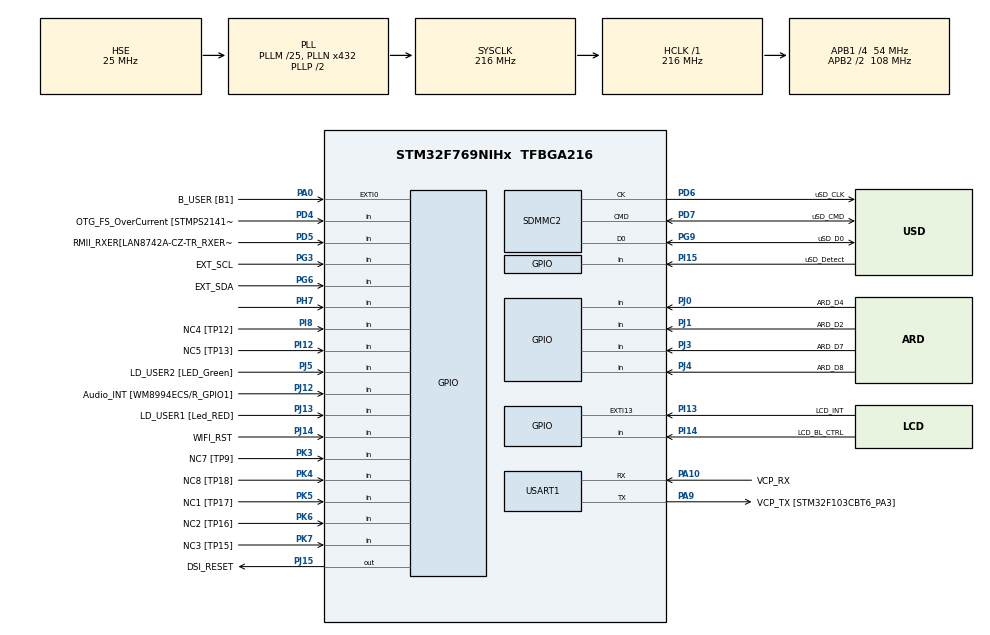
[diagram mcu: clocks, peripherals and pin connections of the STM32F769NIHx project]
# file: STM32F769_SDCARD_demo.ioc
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CORTEX_M7.ART_ACCLERATOR_ENABLE=1
CORTEX_M7.CPU_DCache=Enabled
CORTEX_M7.CPU_ICache=Enabled
CORTEX_M7.PREFETCH_ENABLE=1
DSIHOST_CKN.GPIO_Label=DSI_CK_N
DSIHOST_CKN.Signal=DSIHOST_CKN
DSIHOST_CKP.GPIO_Label=DSI_CK_P
DSIHOST_CKP.Signal=DSIHOST_CKP
DSIHOST_D0N.GPIO_Label=DSI_D0_N
DSIHOST_D0N.Signal=DSIHOST_D0N
DSIHOST_D0P.GPIO_Label=DSI_D0_p
DSIHOST_D0P.Signal=DSIHOST_D0P
DSIHOST_D1N.GPIO_Label=DSI_D1_N
DSIHOST_D1N.Signal=DSIHOST_D1N
DSIHOST_D1P.GPIO_Label=DSI_D1_P
DSIHOST_D1P.Signal=DSIHOST_D1P
FATFS.BSP.number=1
FATFS._USE_LFN=2
FATFS0.BSP.STBoard=false
FATFS0.BSP.api=Unknown
FATFS0.BSP.i2caddr=0
FATFS0.BSP.instance=PI15
FATFS0.BSP.ip=GPIO
FATFS0.BSP.mode=Input
FATFS0.BSP.name=Detect_SDIO
FATFS0.BSP.solution=PI15
Mcu.Family=STM32F7
Mcu.Name=STM32F769NIHx
Mcu.Package=TFBGA216
NVIC.PriorityGroup=NVIC_PRIORITYGROUP_4
NVIC.RCC_IRQn=true\:0\:0\:false\:false\:true\:true\:false
NVIC.TIM6_DAC_IRQn=true\:0\:0\:false\:false\:true\:false\:true
NVIC.TimeBase=TIM6_DAC_IRQn
NVIC.TimeBaseIP=TIM6
PA0/WKUP.GPIO_Label=B_USER [B1]
PA0/WKUP.Signal=GPXTI0
PA1.GPIO_Label=RMII_REF_CLK [LAN8742A-CZ-TR_REFCLK0]
PA1.Signal=ETH_REF_CLK
PA10.GPIO_Label=VCP_RX 
PA10.Mode=Asynchronous
PA10.Signal=USART1_RX
PA11.GPIO_Label=SPI2_NSS
PA11.Signal=SPI2_NSS
PA12.GPIO_Label=ARD_D13/SCK
PA12.GPIO_Mode=GPIO_MODE_AF_PP
PA12.GPIO_PuPd=GPIO_NOPULL
PA12.GPIO_Speed=GPIO_SPEED_FREQ_LOW
PA12.Signal=SPI2_SCK
PA13.GPIO_Label=SWDIO
PA13.Mode=Serial_Wire
PA13.Signal=SYS_JTMS-SWDIO
PA14.GPIO_Label=SWCLK
PA14.Mode=Serial_Wire
PA14.Signal=SYS_JTCK-SWCLK
PA15.GPIO_Label=CEC
PA15.Signal=CEC
PA2.GPIO_Label=RMII_MDIO [LAN8742A-CZ-TR_MDIO]
PA2.Signal=ETH_MDIO
PA3.GPIO_Label=ULPI_D0 [USB3320C-EZK_D0]
PA3.Signal=USB_OTG_HS_ULPI_D0
PA4.GPIO_Label=ARD_A1
PA4.Signal=ADCx_IN4
PA5.GPIO_Label=ULPI_CLK [USB3320C-EZK_CLKOUT]
PA5.Signal=USB_OTG_HS_ULPI_CK
PA6.GPIO_Label=ARD_A0
PA6.Signal=ADCx_IN6
PA7.GPIO_Label=RMII_CRS_DV [LAN8742A-CZ-TR_CRS_DV]
PA7.Signal=ETH_CRS_DV
PA8.GPIO_Label=CEC_CLK [TP2]
PA8.Signal=RCC_MCO_1
PA9.GPIO_Label=VCP_TX [STM32F103CBT6_PA3]
PA9.GPIO_Mode=GPIO_MODE_AF_PP
PA9.GPIO_PuPd=GPIO_NOPULL
PA9.GPIO_Speed=GPIO_SPEED_FREQ_LOW
PA9.Mode=Asynchronous
PA9.Signal=USART1_TX
PB0.GPIO_Label=ULPI_D1 [USB3320C-EZK_D1]
PB0.Signal=USB_OTG_HS_ULPI_D1
PB1.GPIO_Label=ULPI_D2 [USB3320C-EZK_D2]
PB1.Signal=USB_OTG_HS_ULPI_D2
PB10.GPIO_Label=ULPI_D3 [USB3320C-EZK_D3]
PB10.Signal=USB_OTG_HS_ULPI_D3
PB11.GPIO_Label=ULPI_D4 [USB3320C-EZK_D4]
PB11.Signal=USB_OTG_HS_ULPI_D4
PB12.GPIO_Label=ULPI_D5 [USB3320C-EZK_D5]
PB12.Signal=USB_OTG_HS_ULPI_D5
PB13.GPIO_Label=ULPI_D6 [USB3320C-EZK_D6]
PB13.Signal=USB_OTG_HS_ULPI_D6
PB14.GPIO_Label=ARDUINO MISO/D12
PB14.GPIO_Mode=GPIO_MODE_AF_PP
PB14.GPIO_PuPd=GPIO_NOPULL
PB14.GPIO_Speed=GPIO_SPEED_FREQ_LOW
PB14.Signal=SPI2_MISO
PB15.GPIO_Label=ARDUINO MOSI/PWM/D11
PB15.GPIO_Mode=GPIO_MODE_AF_PP
PB15.GPIO_PuPd=GPIO_NOPULL
PB15.GPIO_Speed=GPIO_SPEED_FREQ_LOW
PB15.Signal=SPI2_MOSI
PB2.Signal=QUADSPI_CLK
PB3.GPIO_Label=uSD_D2
PB3.Signal=SDMMC2_D2
PB4.GPIO_Label=uSD_D3
PB4.Signal=SDMMC2_D3
PB5.GPIO_Label=ULPI_D7 [USB3320C-EZK_D7]
PB5.Signal=USB_OTG_HS_ULPI_D7
PB6.GPIO_Label=QSPI_NCS [N25Q128A13EF840E_S]
PB6.Signal=QUADSPI_BK1_NCS
PB7.GPIO_Label=AUDIO_SDA [WM8994ECS/R_SDA]
PB7.Signal=I2C4_SDA
PB8.GPIO_Label=ARDUINO SCL/D15
PB8.GPIO_Mode=GPIO_MODE_AF_OD
PB8.GPIO_PuPd=GPIO_NOPULL
PB8.GPIO_Speed=GPIO_SPEED_FREQ_LOW
PB8.Signal=I2C1_SCL
PB9.GPIO_Label=ARDUINO SDA/D14
PB9.GPIO_Mode=GPIO_MODE_AF_OD
PB9.GPIO_PuPd=GPIO_NOPULL
PB9.GPIO_Speed=GPIO_SPEED_FREQ_LOW
PB9.Signal=I2C1_SDA
PC0.GPIO_Label=ULPI_STP [USB3320C-EZK_STP]
PC0.Signal=USB_OTG_HS_ULPI_STP
PC1.GPIO_Label=RMII_MDC [LAN8742A-CZ-TR_MDC]
PC1.Signal=ETH_MDC
PC10.GPIO_Label=QSPI_D1 [MT25QL512ABB1EW9_DQ1]
PC10.Signal=QUADSPI_BK1_IO1
PC11.GPIO_Label=DFSDM_DATIN5 [TP5]
PC11.Signal=S_DATAIN5DFSDM1
PC12.GPIO_Label=WIFI_RX
PC12.Signal=UART5_TX
PC13.Signal=RTC_OUT_ALARM
PC14/OSC32_IN.GPIO_Label=RCC_OSC32_IN
PC14/OSC32_IN.Mode=LSE-External-Oscillator
PC14/OSC32_IN.Signal=RCC_OSC32_IN
PC15/OSC32_OUT.GPIO_Label=RCC_OSC32_OUT
PC15/OSC32_OUT.Mode=LSE-External-Oscillator
PC15/OSC32_OUT.Signal=RCC_OSC32_OUT
PC2.GPIO_Label=ARD_A2
PC2.Signal=ADCx_IN12
PC4.GPIO_Label=RMII_RXD0 [LAN8742A-CZ-TR_RXD0]
PC4.Signal=ETH_RXD0
PC5.GPIO_Label=RMII_RXD1 [LAN8742A-CZ-TR_RXD1]
PC5.Signal=ETH_RXD1
PC6.GPIO_Label=ARDUINO TX/D1
PC6.Signal=USART6_TX
PC7.GPIO_Label=ARD_D0/RX
PC7.Signal=USART6_RX
PC8.GPIO_Label=ARD_D5/PWM
PC8.Signal=S_TIM3_CH3
PC9.GPIO_Label=QSPI_D0 [N25Q128A13EF840E_DQ0]
PC9.Signal=QUADSPI_BK1_IO0
PD0.GPIO_Label=FMC_D2 [MT48LC4M32B2B5-6A_DQ2]
PD0.Signal=FMC_D2_DA2
PD1.GPIO_Label=FMC_D3 [MT48LC4M32B2B5-6A_DQ3]
PD1.Signal=FMC_D3_DA3
PD10.GPIO_Label=FMC_D15 [MT48LC4M32B2B5-6A_DQ15]
PD10.Signal=FMC_D15_DA15
PD11.GPIO_Label=SPDIF_TX [TP20]
PD11.Signal=SAI2_SD_A
PD12.GPIO_Label=AUDIO_SCL [WM8994ECS/R_SCLK]
PD12.Signal=I2C4_SCL
PD13.GPIO_Label=QSPI_D3 [N25Q128A13EF840E_DQ3]
PD13.Signal=QUADSPI_BK1_IO3
PD14.GPIO_Label=FMC_D0 [MT48LC4M32B2B5-6A_DQ0]
PD14.Signal=FMC_D0_DA0
PD15.GPIO_Label=FMC_D1 [MT48LC4M32B2B5-6A_DQ1]
PD15.Signal=FMC_D1_DA1
PD2.GPIO_Label=WIFI_TX
PD2.Signal=UART5_RX
PD3.GPIO_Label=DFSDM_CKOUT [TP102]
PD3.Signal=S_CKOUTDFSDM1
PD4.GPIO_Label=OTG_FS_OverCurrent [STMPS2141STR_Fault]
PD4.Signal=GPIO_Input
PD5.GPIO_Label=RMII_RXER[LAN8742A-CZ-TR_RXERR]
PD5.Signal=GPIO_Input
PD6.GPIO_Label=uSD_CLK
PD6.Mode=SD_1_bit
PD6.Signal=SDMMC2_CK
PD7.GPIO_Label=uSD_CMD
PD7.Mode=SD_1_bit
PD7.Signal=SDMMC2_CMD
PD8.GPIO_Label=FMC_D13 [MT48LC4M32B2B5-6A_DQ13]
PD8.Signal=FMC_D13_DA13
PD9.GPIO_Label=FMC_D14 [MT48LC4M32B2B5-6A_DQ14]
PD9.Signal=FMC_D14_DA14
PE0.GPIO_Label=FMC_NBL0 [MT48LC4M32B2B5-6A_DQM0]
PE0.Signal=FMC_NBL0
PE1.GPIO_Label=FMC_NBL1 [MT48LC4M32B2B5-6A_DQM1]
PE1.Signal=FMC_NBL1
PE10.GPIO_Label=FMC_D7 [MT48LC4M32B2B5-6A_DQ7]
PE10.Signal=FMC_D7_DA7
PE11.GPIO_Label=FMC_D8 [MT48LC4M32B2B5-6A_DQ8]
PE11.Signal=FMC_D8_DA8
PE12.GPIO_Label=FMC_D9 [MT48LC4M32B2B5-6A_DQ9]
PE12.Signal=FMC_D9_DA9
PE13.GPIO_Label=FMC_D10 [MT48LC4M32B2B5-6A_DQ10]
PE13.Signal=FMC_D10_DA10
PE14.GPIO_Label=FMC_D11 [MT48LC4M32B2B5-6A_DQ11]
PE14.Signal=FMC_D11_DA11
PE15.GPIO_Label=FMC_D12 [MT48LC4M32B2B5-6A_DQ12]
PE15.Signal=FMC_D12_DA12
PE2.GPIO_Label=QSPI_D2 [N25Q128A13EF840E_DQ2]
PE2.Signal=QUADSPI_BK1_IO2
PE3.GPIO_Label=SAI1_SDB [WM8994ECS/R_ADCDAT1]
PE3.Signal=SAI1_SD_B
PE4.GPIO_Label=SAI1_FSA [WM8994ECS/R_LRCLK1]
PE4.Signal=SAI1_FS_A
PE5.GPIO_Label=SAI1_SCKA [WM8994ECS/R_BCLK1]
PE5.Signal=SAI1_SCK_A
PE6.GPIO_Label=SAI1_SDA [WM8994ECS/R_DACDAT1]
PE6.Signal=SAI1_SD_A
PE7.GPIO_Label=FMC_D4 [MT48LC4M32B2B5-6A_DQ4]
PE7.Signal=FMC_D4_DA4
PE8.GPIO_Label=FMC_D5 [MT48LC4M32B2B5-6A_DQ5]
PE8.Signal=FMC_D5_DA5
PE9.GPIO_Label=FMC_D6 [MT48LC4M32B2B5-6A_DQ6]
PE9.Signal=FMC_D6_DA6
PF0.GPIO_Label=FMC_A0 [MT48LC4M32B2B5-6A_A0]
PF0.Signal=FMC_A0
PF1.GPIO_Label=FMC_A1 [MT48LC4M32B2B5-6A_A1]
PF1.Signal=FMC_A1
PF10.GPIO_Label=ARDUINO A1
PF10.GPIO_Mode=GPIO_MODE_ANALOG
PF10.GPIO_PuPd=GPIO_NOPULL
PF10.Signal=ADC3_IN8
PF11.GPIO_Label=FMC_SDNRAS [MT48LC4M32B2B5-6A_RAS]
PF11.Signal=FMC_SDNRAS
PF12.GPIO_Label=FMC_A6 [MT48LC4M32B2B5-6A_A6]
PF12.Signal=FMC_A6
PF13.GPIO_Label=FMC_A7 [MT48LC4M32B2B5-6A_A7]
PF13.Signal=FMC_A7
PF14.GPIO_Label=FMC_A8 [MT48LC4M32B2B5-6A_A8]
PF14.Signal=FMC_A8
PF15.GPIO_Label=FMC_A9 [MT48LC4M32B2B5-6A_A9]
PF15.Signal=FMC_A9
PF2.GPIO_Label=FMC_A2 [MT48LC4M32B2B5-6A_A2]
PF2.Signal=FMC_A2
PF3.GPIO_Label=FMC_A3 [MT48LC4M32B2B5-6A_A3]
PF3.Signal=FMC_A3
PF4.GPIO_Label=FMC_A4 [MT48LC4M32B2B5-6A_A4]
PF4.Signal=FMC_A4
PF5.GPIO_Label=FMC_A5 [MT48LC4M32B2B5-6A_A5]
PF5.Signal=FMC_A5
PF6.GPIO_Label=ARD_D3/PWM
PF6.Signal=S_TIM10_CH1
PF7.GPIO_Label=ARD_D6/PWM
PF7.Signal=S_TIM11_CH1
PF8.GPIO_Label=ARDUINO A3
PF8.GPIO_Mode=GPIO_MODE_ANALOG
PF8.GPIO_PuPd=GPIO_NOPULL
PF8.Signal=ADC3_IN6
PF9.GPIO_Label=ARDUINO A2
PF9.GPIO_Mode=GPIO_MODE_ANALOG
PF9.GPIO_PuPd=GPIO_NOPULL
PF9.Signal=ADC3_IN7
PG0.GPIO_Label=FMC_A10 [MT48LC4M32B2B5-6A_A10]
PG0.Signal=FMC_A10
PG1.GPIO_Label=FMC_A11 [MT48LC4M32B2B5-6A_A11]
PG1.Signal=FMC_A11
PG10.GPIO_Label=uSD_D1
PG10.Signal=SDMMC2_D1
PG11.GPIO_Label=RMII_TX_EN [LAN8742A-CZ-TR_TXEN]
PG11.Signal=ETH_TX_EN
PG12.GPIO_Label=SPDIF_RX [74LVC1G04SE_4]
PG12.Signal=SPDIFRX_IN1
PG13.GPIO_Label=RMII_TXD0 [LAN8742A-CZ-TR_TXD0]
PG13.Signal=ETH_TXD0
PG14.GPIO_Label=RMII_TXD1 [LAN8742A-CZ-TR_TXD1]
PG14.Signal=ETH_TXD1
PG15.GPIO_Label=FMC_SDNCAS [MT48LC4M32B2B5-6A_CAS]
PG15.Signal=FMC_SDNCAS
PG2.GPIO_Label=FMC_A12
PG2.Signal=FMC_A12
PG3.GPIO_Label=EXT_SCL
PG3.Signal=GPIO_Input
PG4.GPIO_Label=FMC_BA0 [MT48LC4M32B2B5-6A_BA0]
PG4.Signal=FMC_A14_BA0
PG5.GPIO_Label=FMC_BA1 [MT48LC4M32B2B5-6A_BA1]
PG5.Signal=FMC_A15_BA1
PG6.GPIO_Label=EXT_SDA
PG6.Signal=GPIO_Input
PG7.GPIO_Label=SAI1_MCLKA [WM8994ECS/R_MCLK1]
PG7.Signal=SAI1_MCLK_A
PG8.GPIO_Label=FMC_SDCLK [MT48LC4M32B2B5-6A_CLK]
PG8.Signal=FMC_SDCLK
PG9.GPIO_Label=uSD_D0
PG9.Mode=SD_1_bit
PG9.Signal=SDMMC2_D0
PH0/OSC_IN.GPIO_Label=OSC_25M [NZ2520SB-25.00M_OUT]
PH0/OSC_IN.Mode=HSE-External-Oscillator
PH0/OSC_IN.Signal=RCC_OSC_IN
PH1/OSC_OUT.Mode=HSE-External-Oscillator
PH1/OSC_OUT.Signal=RCC_OSC_OUT
PH10.GPIO_Label=FMC_D18 [MT48LC4M32B2B5-6A_DQ18]
PH10.Signal=FMC_D18
PH11.GPIO_Label=FMC_D19 [MT48LC4M32B2B5-6A_DQ19]
PH11.Signal=FMC_D19
PH12.GPIO_Label=D20
PH12.Signal=FMC_D20
PH13.GPIO_Label=D21
PH13.Signal=FMC_D21
PH14.GPIO_Label=D22
PH14.Signal=FMC_D22
PH15.GPIO_Label=D23
PH15.Signal=FMC_D23
PH2.GPIO_Label=FMC_SDCKE0 [MT48LC4M32B2B5-6A_CKE]
PH2.Signal=FMC_SDCKE0
PH3.GPIO_Label=FMC_SDNE0 [MT48LC4M32B2B5-6A_CS]
PH3.Signal=FMC_SDNE0
PH4.GPIO_Label=ULPI_NXT [USB3320C-EZK_NXT]
PH4.Signal=USB_OTG_HS_ULPI_NXT
PH5.GPIO_Label=FMC_SDNME [MT48LC4M32B2B5-6A_WE]
PH5.Signal=FMC_SDNWE
PH6.GPIO_Label=ARDUINO PWM/D6
PH6.Signal=S_TIM12_CH1
PH7.Signal=GPIO_Input
PH8.GPIO_Label=FMC_D16 [MT48LC4M32B2B5-6A_DQ16]
PH8.Signal=FMC_D16
PH9.GPIO_Label=FMC_D\!7 [MT48LC4M32B2B5-6A_DQ17]
PH9.Signal=FMC_D17
PI0.GPIO_Label=D24
PI0.Signal=FMC_D24
PI1.GPIO_Label=D25
PI1.Signal=FMC_D25
PI10.GPIO_Label=D31
PI10.Signal=FMC_D31
PI11.GPIO_Label=ULPI_DIR [USB3320C-EZK_DIR]
PI11.Signal=USB_OTG_HS_ULPI_DIR
PI12.GPIO_Label=NC5 [TP13]
PI12.Signal=GPIO_Input
PI13.GPIO_Label=LCD_INT
PI13.GPIO_ModeDefaultEXTI=GPIO_MODE_EVT_RISING
PI13.Signal=GPXTI13
PI14.GPIO_Label=LCD_BL_CTRL
PI14.Signal=GPIO_Input
PI15.GPIO_Label=uSD_Detect
PI15.GPIO_PuPd=GPIO_PULLUP
PI15.Signal=GPIO_Input
PI2.GPIO_Label=D26
PI2.Signal=FMC_D26
PI3.GPIO_Label=D27
PI3.Signal=FMC_D27
PI4.GPIO_Label=FMC_NBL2 [MT48LC4M32B2B5-6A_DQM2]
PI4.Signal=FMC_NBL2
PI5.GPIO_Label=FMC_NBL3 [MT48LC4M32B2B5-6A_DQM3]
PI5.Signal=FMC_NBL3
PI6.GPIO_Label=D28
PI6.Signal=FMC_D28
PI7.GPIO_Label=D29
PI7.Signal=FMC_D29
PI8.GPIO_Label=NC4 [TP12]
PI8.Signal=GPIO_Input
PI9.GPIO_Label=D30
PI9.Signal=FMC_D30
PJ0.GPIO_Label=ARD_D4
PJ0.Signal=GPIO_Input
PJ1.GPIO_Label=ARD_D2
PJ1.Signal=GPIO_Input
PJ12.GPIO_Label=Audio_INT [WM8994ECS/R_GPIO1]
PJ12.Signal=GPIO_Input
PJ13.GPIO_Label=LD_USER1 [Led_RED]
PJ13.Signal=GPIO_Input
PJ14.GPIO_Label=WIFI_RST
PJ14.Signal=GPIO_Input
PJ15.GPIO_Label=DSI_RESET
PJ15.Signal=GPIO_Output
PJ2.GPIO_Label=DSIHOST_TE
PJ2.Signal=DSIHOST_TE
PJ3.GPIO_Label=ARD_D7
PJ3.Signal=GPIO_Input
PJ4.GPIO_Label=ARD_D8
PJ4.Signal=GPIO_Input
PJ5.GPIO_Label=LD_USER2 [LED_Green]
PJ5.Signal=GPIO_Input
PK3.GPIO_Label=NC7 [TP9]
PK3.Signal=GPIO_Input
PK4.GPIO_Label=NC8 [TP18]
PK4.Signal=GPIO_Input
PK5.GPIO_Label=NC1 [TP17]
PK5.Signal=GPIO_Input
PK6.GPIO_Label=NC2 [TP16]
PK6.Signal=GPIO_Input
PK7.GPIO_Label=NC3 [TP15]
PK7.Signal=GPIO_Input
ProjectManager.HeapSize=0x200
ProjectManager.StackSize=0x400
ProjectManager.TargetToolchain=STM32CubeIDE
RCC.AHBFreq_Value=216000000
RCC.APB1CLKDivider=RCC_HCLK_DIV4
RCC.APB1Freq_Value=54000000
RCC.APB1TimFreq_Value=108000000
RCC.APB2CLKDivider=RCC_HCLK_DIV2
RCC.APB2Freq_Value=108000000
RCC.APB2TimFreq_Value=216000000
RCC.CortexFreq_Value=216000000
RCC.HCLKFreq_Value=216000000
RCC.HSE_VALUE=25000000
RCC.HSI_VALUE=16000000
RCC.PLL48CLockSelection=RCC_CLK48SOURCE_PLLSAIP
RCC.PLLM=25
RCC.PLLN=432
RCC.PLLQ=4
RCC.PLLSAIP=RCC_PLLSAIP_DIV4
RCC.PLLSAIQ=3
RCC.PLLSourceVirtual=RCC_PLLSOURCE_HSE
RCC.SDMMC2ClockSelection=RCC_SDMMC2CLKSOURCE_CLK48
RCC.SYSCLKFreq_VALUE=216000000
RCC.SYSCLKSource=RCC_SYSCLKSOURCE_PLLCLK
RCC.USBFreq_Value=48000000
RCC.VCOOutputFreq_Value=432000000
SH.ADCx_IN12.0=ADC1_IN12
SH.ADCx_IN4.0=ADC1_IN4
SH.ADCx_IN6.0=ADC1_IN6
SH.FMC_A0.0=FMC_A0
SH.FMC_A1.0=FMC_A1
SH.FMC_A10.0=FMC_A10
SH.FMC_A11.0=FMC_A11
SH.FMC_A12.0=FMC_A12
SH.FMC_A14_BA0.0=FMC_BA0
SH.FMC_A15_BA1.0=FMC_BA1
SH.FMC_A2.0=FMC_A2
SH.FMC_A3.0=FMC_A3
SH.FMC_A4.0=FMC_A4
SH.FMC_A5.0=FMC_A5
SH.FMC_A6.0=FMC_A6
SH.FMC_A7.0=FMC_A7
SH.FMC_A8.0=FMC_A8
SH.FMC_A9.0=FMC_A9
SH.FMC_D0_DA0.0=FMC_D0
SH.FMC_D10_DA10.0=FMC_D10
SH.FMC_D11_DA11.0=FMC_D11
SH.FMC_D12_DA12.0=FMC_D12
SH.FMC_D13_DA13.0=FMC_D13
SH.FMC_D14_DA14.0=FMC_D14
SH.FMC_D15_DA15.0=FMC_D15
SH.FMC_D16.0=FMC_D16
SH.FMC_D17.0=FMC_D17
SH.FMC_D18.0=FMC_D18
SH.FMC_D19.0=FMC_D19
SH.FMC_D1_DA1.0=FMC_D1
SH.FMC_D20.0=FMC_D20
SH.FMC_D21.0=FMC_D21
SH.FMC_D22.0=FMC_D22
SH.FMC_D23.0=FMC_D23
SH.FMC_D24.0=FMC_D24
SH.FMC_D25.0=FMC_D25
SH.FMC_D26.0=FMC_D26
SH.FMC_D27.0=FMC_D27
SH.FMC_D28.0=FMC_D28
SH.FMC_D29.0=FMC_D29
SH.FMC_D2_DA2.0=FMC_D2
SH.FMC_D30.0=FMC_D30
SH.FMC_D31.0=FMC_D31
SH.FMC_D3_DA3.0=FMC_D3
SH.FMC_D4_DA4.0=FMC_D4
SH.FMC_D5_DA5.0=FMC_D5
SH.FMC_D6_DA6.0=FMC_D6
SH.FMC_D7_DA7.0=FMC_D7
SH.FMC_D8_DA8.0=FMC_D8
SH.FMC_D9_DA9.0=FMC_D9
SH.FMC_NBL0.0=FMC_NBL0
SH.FMC_NBL1.0=FMC_NBL1
SH.FMC_NBL2.0=FMC_NBL2
SH.FMC_NBL3.0=FMC_NBL3
SH.FMC_SDCLK.0=FMC_SDCLK
SH.FMC_SDNCAS.0=FMC_SDNCAS
SH.FMC_SDNRAS.0=FMC_SDNRAS
SH.FMC_SDNWE.0=FMC_SDNWE
SH.S_CKOUTDFSDM1.0=DFSDM1_CKOUT
SH.S_DATAIN5DFSDM1.0=DFSDM1_DATIN5
SH.S_TIM10_CH1.0=TIM10_CH1
SH.S_TIM11_CH1.0=TIM11_CH1
SH.S_TIM12_CH1.0=TIM12_CH1
SH.S_TIM3_CH3.0=TIM3_CH3
USART1.VirtualMode-Asynchronous=VM_ASYNC
VP_FATFS_VS_SDIO.Mode=SDIO
VP_SYS_VS_tim6.Mode=TIM6
board=STM32F769I-DISCO

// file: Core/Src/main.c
/* USER CODE BEGIN Header */
/**
  ******************************************************************************
  * @file           : main.c
  * @brief          : Main program body
  ******************************************************************************
  * @attention
  *
  * <h2><center>&copy; Copyright (c) 2020 STMicroelectronics.
  * All rights reserved.</center></h2>
  *
  * This software component is licensed by ST under Ultimate Liberty license
  * SLA0044, the "License"; You may not use this file except in compliance with
  * the License. You may obtain a copy of the License at:
  *                             www.st.com/SLA0044
  *
  ******************************************************************************
  */
/* USER CODE END Header */

#include "main.h"
#include "fatfs.h"

/* USER CODE BEGIN Includes */
#include "ff.h"
#include "../../Middlewares/Third_Party/FatFs/src/ff.h"
#include <stdio.h>
#include <string.h>
/* USER CODE END Includes */

SD_HandleTypeDef hsd2;

UART_HandleTypeDef huart1;

void SystemClock_Config(void);
static void MX_GPIO_Init(void);
static void MX_USART1_UART_Init(void);
static void MX_SDMMC2_SD_Init(void);
/* USER CODE BEGIN PFP */
FRESULT scan_files (char* path);
/* USER CODE END PFP */

int main(void)
{

  /* Enable I-Cache---------------------------------------------------------*/
  SCB_EnableICache();

  /* Enable D-Cache---------------------------------------------------------*/
  SCB_EnableDCache();

  /* MCU Configuration--------------------------------------------------------*/

  /* Reset of all peripherals, Initializes the Flash interface and the Systick. */
  HAL_Init();

  /* Configure the system clock */
  SystemClock_Config();

  /* Initialize all configured peripherals */
  MX_GPIO_Init();
  MX_USART1_UART_Init();
  MX_SDMMC2_SD_Init();
  MX_FATFS_Init();
  /* USER CODE BEGIN 2 */

  if(BSP_SD_IsDetected() == SD_PRESENT) {
	  HAL_UART_Transmit(&huart1, (uint8_t *)"SDCARD OK", 9, HAL_MAX_DELAY);
      HAL_UART_Transmit(&huart1, (uint8_t *) "\n\r", 2, HAL_MAX_DELAY);

  } else {
	  HAL_UART_Transmit(&huart1, (uint8_t *)"SDCARD NOK", 10, HAL_MAX_DELAY);
      HAL_UART_Transmit(&huart1, (uint8_t *) "\n\r", 2, HAL_MAX_DELAY);

  }

  FRESULT res;
  FATFS SDFatFs;
  char buff[256];

  res = BSP_SD_Init();
  if(res != FR_OK) {
	  Error_Handler();
  }

  res = f_mount(&SDFatFs, "", 1);
  if(res != FR_OK) {
	  Error_Handler();
  }

  strcpy(buff, "/");
  res = scan_files(buff);
  if(res != FR_OK) {
 	  Error_Handler();
   }

  /* USER CODE END 2 */

  /* Infinite loop */
  while (1)
  {

  }
}

void SystemClock_Config(void)
{
  RCC_OscInitTypeDef RCC_OscInitStruct = {0};
  RCC_ClkInitTypeDef RCC_ClkInitStruct = {0};
  RCC_PeriphCLKInitTypeDef PeriphClkInitStruct = {0};

  /** Configure LSE Drive Capability
  */
  HAL_PWR_EnableBkUpAccess();
  /** Configure the main internal regulator output voltage
  */
  __HAL_RCC_PWR_CLK_ENABLE();
  __HAL_PWR_VOLTAGESCALING_CONFIG(PWR_REGULATOR_VOLTAGE_SCALE1);
  /** Initializes the CPU, AHB and APB busses clocks
  */
  RCC_OscInitStruct.OscillatorType = RCC_OSCILLATORTYPE_HSE;
  RCC_OscInitStruct.HSEState = RCC_HSE_ON;
  RCC_OscInitStruct.PLL.PLLState = RCC_PLL_ON;
  RCC_OscInitStruct.PLL.PLLSource = RCC_PLLSOURCE_HSE;
  RCC_OscInitStruct.PLL.PLLM = 25;
  RCC_OscInitStruct.PLL.PLLN = 432;
  RCC_OscInitStruct.PLL.PLLP = RCC_PLLP_DIV2;
  RCC_OscInitStruct.PLL.PLLQ = 4;
  if (HAL_RCC_OscConfig(&RCC_OscInitStruct) != HAL_OK)
  {
    Error_Handler();
  }
  /** Activate the Over-Drive mode
  */
  if (HAL_PWREx_EnableOverDrive() != HAL_OK)
  {
    Error_Handler();
  }
  /** Initializes the CPU, AHB and APB busses clocks
  */
  RCC_ClkInitStruct.ClockType = RCC_CLOCKTYPE_HCLK|RCC_CLOCKTYPE_SYSCLK
                              |RCC_CLOCKTYPE_PCLK1|RCC_CLOCKTYPE_PCLK2;
  RCC_ClkInitStruct.SYSCLKSource = RCC_SYSCLKSOURCE_PLLCLK;
  RCC_ClkInitStruct.AHBCLKDivider = RCC_SYSCLK_DIV1;
  RCC_ClkInitStruct.APB1CLKDivider = RCC_HCLK_DIV4;
  RCC_ClkInitStruct.APB2CLKDivider = RCC_HCLK_DIV2;

  if (HAL_RCC_ClockConfig(&RCC_ClkInitStruct, FLASH_LATENCY_7) != HAL_OK)
  {
    Error_Handler();
  }
  PeriphClkInitStruct.PeriphClockSelection = RCC_PERIPHCLK_USART1|RCC_PERIPHCLK_SDMMC2
                              |RCC_PERIPHCLK_CLK48;
  PeriphClkInitStruct.PLLSAI.PLLSAIN = 192;
  PeriphClkInitStruct.PLLSAI.PLLSAIR = 2;
  PeriphClkInitStruct.PLLSAI.PLLSAIQ = 3;
  PeriphClkInitStruct.PLLSAI.PLLSAIP = RCC_PLLSAIP_DIV4;
  PeriphClkInitStruct.PLLSAIDivQ = 1;
  PeriphClkInitStruct.PLLSAIDivR = RCC_PLLSAIDIVR_2;
  PeriphClkInitStruct.Usart1ClockSelection = RCC_USART1CLKSOURCE_PCLK2;
  PeriphClkInitStruct.Clk48ClockSelection = RCC_CLK48SOURCE_PLLSAIP;
  PeriphClkInitStruct.Sdmmc2ClockSelection = RCC_SDMMC2CLKSOURCE_CLK48;
  if (HAL_RCCEx_PeriphCLKConfig(&PeriphClkInitStruct) != HAL_OK)
  {
    Error_Handler();
  }
}

static void MX_SDMMC2_SD_Init(void)
{

  hsd2.Instance = SDMMC2;
  hsd2.Init.ClockEdge = SDMMC_CLOCK_EDGE_RISING;
  hsd2.Init.ClockBypass = SDMMC_CLOCK_BYPASS_DISABLE;
  hsd2.Init.ClockPowerSave = SDMMC_CLOCK_POWER_SAVE_DISABLE;
  hsd2.Init.BusWide = SDMMC_BUS_WIDE_1B;
  hsd2.Init.HardwareFlowControl = SDMMC_HARDWARE_FLOW_CONTROL_DISABLE;
  hsd2.Init.ClockDiv = 0;

}

static void MX_USART1_UART_Init(void)
{

  huart1.Instance = USART1;
  huart1.Init.BaudRate = 115200;
  huart1.Init.WordLength = UART_WORDLENGTH_8B;
  huart1.Init.StopBits = UART_STOPBITS_1;
  huart1.Init.Parity = UART_PARITY_NONE;
  huart1.Init.Mode = UART_MODE_TX_RX;
  huart1.Init.HwFlowCtl = UART_HWCONTROL_NONE;
  huart1.Init.OverSampling = UART_OVERSAMPLING_16;
  huart1.Init.OneBitSampling = UART_ONE_BIT_SAMPLE_DISABLE;
  huart1.AdvancedInit.AdvFeatureInit = UART_ADVFEATURE_NO_INIT;
  if (HAL_UART_Init(&huart1) != HAL_OK)
  {
    Error_Handler();
  }

}

static void MX_GPIO_Init(void)
{
  GPIO_InitTypeDef GPIO_InitStruct = {0};

  /* GPIO Ports Clock Enable */
  __HAL_RCC_GPIOE_CLK_ENABLE();
  __HAL_RCC_GPIOG_CLK_ENABLE();
  __HAL_RCC_GPIOB_CLK_ENABLE();
  __HAL_RCC_GPIOD_CLK_ENABLE();
  __HAL_RCC_GPIOC_CLK_ENABLE();
  __HAL_RCC_GPIOA_CLK_ENABLE();
  __HAL_RCC_GPIOJ_CLK_ENABLE();
  __HAL_RCC_GPIOI_CLK_ENABLE();
  __HAL_RCC_GPIOK_CLK_ENABLE();
  __HAL_RCC_GPIOF_CLK_ENABLE();
  __HAL_RCC_GPIOH_CLK_ENABLE();

  /*Configure GPIO pin Output Level */
  HAL_GPIO_WritePin(DSI_RESET_GPIO_Port, DSI_RESET_Pin, GPIO_PIN_RESET);

  /*Configure GPIO pins : SAI1_FSA_Pin SAI1_SDB_Pin SAI1_SCKA_Pin SAI1_SDA_Pin */
  GPIO_InitStruct.Pin = SAI1_FSA_Pin|SAI1_SDB_Pin|SAI1_SCKA_Pin|SAI1_SDA_Pin;
  GPIO_InitStruct.Mode = GPIO_MODE_AF_PP;
  GPIO_InitStruct.Pull = GPIO_NOPULL;
  GPIO_InitStruct.Speed = GPIO_SPEED_FREQ_LOW;
  GPIO_InitStruct.Alternate = GPIO_AF6_SAI1;
  HAL_GPIO_Init(GPIOE, &GPIO_InitStruct);

  /*Configure GPIO pin : QSPI_D2_Pin */
  GPIO_InitStruct.Pin = QSPI_D2_Pin;
  GPIO_InitStruct.Mode = GPIO_MODE_AF_PP;
  GPIO_InitStruct.Pull = GPIO_NOPULL;
  GPIO_InitStruct.Speed = GPIO_SPEED_FREQ_VERY_HIGH;
  GPIO_InitStruct.Alternate = GPIO_AF9_QUADSPI;
  HAL_GPIO_Init(QSPI_D2_GPIO_Port, &GPIO_InitStruct);

  /*Configure GPIO pins : RMII_TXD1_Pin RMII_TXD0_Pin RMII_TX_EN_Pin */
  GPIO_InitStruct.Pin = RMII_TXD1_Pin|RMII_TXD0_Pin|RMII_TX_EN_Pin;
  GPIO_InitStruct.Mode = GPIO_MODE_AF_PP;
  GPIO_InitStruct.Pull = GPIO_NOPULL;
  GPIO_InitStruct.Speed = GPIO_SPEED_FREQ_VERY_HIGH;
  GPIO_InitStruct.Alternate = GPIO_AF11_ETH;
  HAL_GPIO_Init(GPIOG, &GPIO_InitStruct);

  /*Configure GPIO pins : FMC_NBL1_Pin FMC_NBL0_Pin FMC_D5_Pin FMC_D6_Pin
                           FMC_D8_Pin FMC_D11_Pin FMC_D4_Pin FMC_D7_Pin
                           FMC_D9_Pin FMC_D12_Pin FMC_D10_Pin */
  GPIO_InitStruct.Pin = FMC_NBL1_Pin|FMC_NBL0_Pin|FMC_D5_Pin|FMC_D6_Pin
                          |FMC_D8_Pin|FMC_D11_Pin|FMC_D4_Pin|FMC_D7_Pin
                          |FMC_D9_Pin|FMC_D12_Pin|FMC_D10_Pin;
  GPIO_InitStruct.Mode = GPIO_MODE_AF_PP;
  GPIO_InitStruct.Pull = GPIO_NOPULL;
  GPIO_InitStruct.Speed = GPIO_SPEED_FREQ_VERY_HIGH;
  GPIO_InitStruct.Alternate = GPIO_AF12_FMC;
  HAL_GPIO_Init(GPIOE, &GPIO_InitStruct);

  /*Configure GPIO pins : ARDUINO_SCL_D15_Pin ARDUINO_SDA_D14_Pin */
  GPIO_InitStruct.Pin = ARDUINO_SCL_D15_Pin|ARDUINO_SDA_D14_Pin;
  GPIO_InitStruct.Mode = GPIO_MODE_AF_OD;
  GPIO_InitStruct.Pull = GPIO_PULLUP;
  GPIO_InitStruct.Speed = GPIO_SPEED_FREQ_LOW;
  GPIO_InitStruct.Alternate = GPIO_AF4_I2C1;
  HAL_GPIO_Init(GPIOB, &GPIO_InitStruct);

  /*Configure GPIO pins : ULPI_D7_Pin ULPI_D6_Pin ULPI_D5_Pin ULPI_D3_Pin
                           ULPI_D2_Pin ULPI_D1_Pin ULPI_D4_Pin */
  GPIO_InitStruct.Pin = ULPI_D7_Pin|ULPI_D6_Pin|ULPI_D5_Pin|ULPI_D3_Pin
                          |ULPI_D2_Pin|ULPI_D1_Pin|ULPI_D4_Pin;
  GPIO_InitStruct.Mode = GPIO_MODE_AF_PP;
  GPIO_InitStruct.Pull = GPIO_NOPULL;
  GPIO_InitStruct.Speed = GPIO_SPEED_FREQ_VERY_HIGH;
  GPIO_InitStruct.Alternate = GPIO_AF10_OTG_HS;
  HAL_GPIO_Init(GPIOB, &GPIO_InitStruct);

  /*Configure GPIO pin : WIFI_RX_Pin */
  GPIO_InitStruct.Pin = WIFI_RX_Pin;
  GPIO_InitStruct.Mode = GPIO_MODE_AF_PP;
  GPIO_InitStruct.Pull = GPIO_NOPULL;
  GPIO_InitStruct.Speed = GPIO_SPEED_FREQ_VERY_HIGH;
  GPIO_InitStruct.Alternate = GPIO_AF8_UART5;
  HAL_GPIO_Init(WIFI_RX_GPIO_Port, &GPIO_InitStruct);

  /*Configure GPIO pin : CEC_Pin */
  GPIO_InitStruct.Pin = CEC_Pin;
  GPIO_InitStruct.Mode = GPIO_MODE_AF_OD;
  GPIO_InitStruct.Pull = GPIO_NOPULL;
  GPIO_InitStruct.Speed = GPIO_SPEED_FREQ_LOW;
  GPIO_InitStruct.Alternate = GPIO_AF4_CEC;
  HAL_GPIO_Init(CEC_GPIO_Port, &GPIO_InitStruct);

  /*Configure GPIO pin : AUDIO_SDA_Pin */
  GPIO_InitStruct.Pin = AUDIO_SDA_Pin;
  GPIO_InitStruct.Mode = GPIO_MODE_AF_OD;
  GPIO_InitStruct.Pull = GPIO_PULLUP;
  GPIO_InitStruct.Speed = GPIO_SPEED_FREQ_VERY_HIGH;
  GPIO_InitStruct.Alternate = GPIO_AF11_I2C4;
  HAL_GPIO_Init(AUDIO_SDA_GPIO_Port, &GPIO_InitStruct);

  /*Configure GPIO pin : QSPI_NCS_Pin */
  GPIO_InitStruct.Pin = QSPI_NCS_Pin;
  GPIO_InitStruct.Mode = GPIO_MODE_AF_PP;
  GPIO_InitStruct.Pull = GPIO_NOPULL;
  GPIO_InitStruct.Speed = GPIO_SPEED_FREQ_VERY_HIGH;
  GPIO_InitStruct.Alternate = GPIO_AF10_QUADSPI;
  HAL_GPIO_Init(QSPI_NCS_GPIO_Port, &GPIO_InitStruct);

  /*Configure GPIO pins : FMC_SDNCAS_Pin FMC_SDCLK_Pin FMC_A11_Pin FMC_A12_Pin
                           FMC_A10_Pin FMC_BA1_Pin FMC_BA0_Pin */
  GPIO_InitStruct.Pin = FMC_SDNCAS_Pin|FMC_SDCLK_Pin|FMC_A11_Pin|FMC_A12_Pin
                          |FMC_A10_Pin|FMC_BA1_Pin|FMC_BA0_Pin;
  GPIO_InitStruct.Mode = GPIO_MODE_AF_PP;
  GPIO_InitStruct.Pull = GPIO_NOPULL;
  GPIO_InitStruct.Speed = GPIO_SPEED_FREQ_VERY_HIGH;
  GPIO_InitStruct.Alternate = GPIO_AF12_FMC;
  HAL_GPIO_Init(GPIOG, &GPIO_InitStruct);

  /*Configure GPIO pins : LD_USER1_Pin Audio_INT_Pin WIFI_RST_Pin ARD_D8_Pin
                           LD_USER2_Pin ARD_D7_Pin ARD_D4_Pin ARD_D2_Pin */
  GPIO_InitStruct.Pin = LD_USER1_Pin|Audio_INT_Pin|WIFI_RST_Pin|ARD_D8_Pin
                          |LD_USER2_Pin|ARD_D7_Pin|ARD_D4_Pin|ARD_D2_Pin;
  GPIO_InitStruct.Mode = GPIO_MODE_INPUT;
  GPIO_InitStruct.Pull = GPIO_NOPULL;
  HAL_GPIO_Init(GPIOJ, &GPIO_InitStruct);

  /*Configure GPIO pins : FMC_D2_Pin FMC_D3_Pin FMC_D1_Pin FMC_D15_Pin
                           FMC_D0_Pin FMC_D14_Pin FMC_D13_Pin */
  GPIO_InitStruct.Pin = FMC_D2_Pin|FMC_D3_Pin|FMC_D1_Pin|FMC_D15_Pin
                          |FMC_D0_Pin|FMC_D14_Pin|FMC_D13_Pin;
  GPIO_InitStruct.Mode = GPIO_MODE_AF_PP;
  GPIO_InitStruct.Pull = GPIO_NOPULL;
  GPIO_InitStruct.Speed = GPIO_SPEED_FREQ_VERY_HIGH;
  GPIO_InitStruct.Alternate = GPIO_AF12_FMC;
  HAL_GPIO_Init(GPIOD, &GPIO_InitStruct);

  /*Configure GPIO pin : DFSDM_DATIN5_Pin */
  GPIO_InitStruct.Pin = DFSDM_DATIN5_Pin;
  GPIO_InitStruct.Mode = GPIO_MODE_AF_PP;
  GPIO_InitStruct.Pull = GPIO_NOPULL;
  GPIO_InitStruct.Speed = GPIO_SPEED_FREQ_LOW;
  GPIO_InitStruct.Alternate = GPIO_AF3_DFSDM1;
  HAL_GPIO_Init(DFSDM_DATIN5_GPIO_Port, &GPIO_InitStruct);

  /*Configure GPIO pins : QSPI_D1_Pin QSPI_D0_Pin */
  GPIO_InitStruct.Pin = QSPI_D1_Pin|QSPI_D0_Pin;
  GPIO_InitStruct.Mode = GPIO_MODE_AF_PP;
  GPIO_InitStruct.Pull = GPIO_NOPULL;
  GPIO_InitStruct.Speed = GPIO_SPEED_FREQ_VERY_HIGH;
  GPIO_InitStruct.Alternate = GPIO_AF9_QUADSPI;
  HAL_GPIO_Init(GPIOC, &GPIO_InitStruct);

  /*Configure GPIO pin : ARD_D13_SCK_Pin */
  GPIO_InitStruct.Pin = ARD_D13_SCK_Pin;
  GPIO_InitStruct.Mode = GPIO_MODE_AF_PP;
  GPIO_InitStruct.Pull = GPIO_NOPULL;
  GPIO_InitStruct.Speed = GPIO_SPEED_FREQ_LOW;
  GPIO_InitStruct.Alternate = GPIO_AF5_SPI2;
  HAL_GPIO_Init(ARD_D13_SCK_GPIO_Port, &GPIO_InitStruct);

  /*Configure GPIO pins : NC4_Pin NC5_Pin LCD_BL_CTRL_Pin */
  GPIO_InitStruct.Pin = NC4_Pin|NC5_Pin|LCD_BL_CTRL_Pin;
  GPIO_InitStruct.Mode = GPIO_MODE_INPUT;
  GPIO_InitStruct.Pull = GPIO_NOPULL;
  HAL_GPIO_Init(GPIOI, &GPIO_InitStruct);

  /*Configure GPIO pins : FMC_NBL2_Pin D27_Pin D26_Pin FMC_NBL3_Pin
                           D29_Pin D31_Pin D28_Pin D25_Pin
                           D30_Pin D24_Pin */
  GPIO_InitStruct.Pin = FMC_NBL2_Pin|D27_Pin|D26_Pin|FMC_NBL3_Pin
                          |D29_Pin|D31_Pin|D28_Pin|D25_Pin
                          |D30_Pin|D24_Pin;
  GPIO_InitStruct.Mode = GPIO_MODE_AF_PP;
  GPIO_InitStruct.Pull = GPIO_NOPULL;
  GPIO_InitStruct.Speed = GPIO_SPEED_FREQ_VERY_HIGH;
  GPIO_InitStruct.Alternate = GPIO_AF12_FMC;
  HAL_GPIO_Init(GPIOI, &GPIO_InitStruct);

  /*Configure GPIO pins : NC3_Pin NC2_Pin NC1_Pin NC8_Pin
                           NC7_Pin */
  GPIO_InitStruct.Pin = NC3_Pin|NC2_Pin|NC1_Pin|NC8_Pin
                          |NC7_Pin;
  GPIO_InitStruct.Mode = GPIO_MODE_INPUT;
  GPIO_InitStruct.Pull = GPIO_NOPULL;
  HAL_GPIO_Init(GPIOK, &GPIO_InitStruct);

  /*Configure GPIO pin : SPDIF_RX_Pin */
  GPIO_InitStruct.Pin = SPDIF_RX_Pin;
  GPIO_InitStruct.Mode = GPIO_MODE_AF_PP;
  GPIO_InitStruct.Pull = GPIO_NOPULL;
  GPIO_InitStruct.Speed = GPIO_SPEED_FREQ_LOW;
  GPIO_InitStruct.Alternate = GPIO_AF7_SPDIFRX;
  HAL_GPIO_Init(SPDIF_RX_GPIO_Port, &GPIO_InitStruct);

  /*Configure GPIO pins : RMII_RXER_Pin OTG_FS_OverCurrent_Pin */
  GPIO_InitStruct.Pin = RMII_RXER_Pin|OTG_FS_OverCurrent_Pin;
  GPIO_InitStruct.Mode = GPIO_MODE_INPUT;
  GPIO_InitStruct.Pull = GPIO_NOPULL;
  HAL_GPIO_Init(GPIOD, &GPIO_InitStruct);

  /*Configure GPIO pin : DFSDM_CKOUT_Pin */
  GPIO_InitStruct.Pin = DFSDM_CKOUT_Pin;
  GPIO_InitStruct.Mode = GPIO_MODE_AF_PP;
  GPIO_InitStruct.Pull = GPIO_NOPULL;
  GPIO_InitStruct.Speed = GPIO_SPEED_FREQ_LOW;
  GPIO_InitStruct.Alternate = GPIO_AF3_DFSDM1;
  HAL_GPIO_Init(DFSDM_CKOUT_GPIO_Port, &GPIO_InitStruct);

  /*Configure GPIO pin : SPI2_NSS_Pin */
  GPIO_InitStruct.Pin = SPI2_NSS_Pin;
  GPIO_InitStruct.Mode = GPIO_MODE_AF_PP;
  GPIO_InitStruct.Pull = GPIO_NOPULL;
  GPIO_InitStruct.Speed = GPIO_SPEED_FREQ_VERY_HIGH;
  GPIO_InitStruct.Alternate = GPIO_AF5_SPI2;
  HAL_GPIO_Init(SPI2_NSS_GPIO_Port, &GPIO_InitStruct);

  /*Configure GPIO pins : FMC_A0_Pin FMC_A1_Pin FMC_A2_Pin FMC_A3_Pin
                           FMC_A4_Pin FMC_A5_Pin FMC_A6_Pin FMC_A9_Pin
                           FMC_A7_Pin FMC_A8_Pin FMC_SDNRAS_Pin */
  GPIO_InitStruct.Pin = FMC_A0_Pin|FMC_A1_Pin|FMC_A2_Pin|FMC_A3_Pin
                          |FMC_A4_Pin|FMC_A5_Pin|FMC_A6_Pin|FMC_A9_Pin
                          |FMC_A7_Pin|FMC_A8_Pin|FMC_SDNRAS_Pin;
  GPIO_InitStruct.Mode = GPIO_MODE_AF_PP;
  GPIO_InitStruct.Pull = GPIO_NOPULL;
  GPIO_InitStruct.Speed = GPIO_SPEED_FREQ_VERY_HIGH;
  GPIO_InitStruct.Alternate = GPIO_AF12_FMC;
  HAL_GPIO_Init(GPIOF, &GPIO_InitStruct);

  /*Configure GPIO pin : DSI_RESET_Pin */
  GPIO_InitStruct.Pin = DSI_RESET_Pin;
  GPIO_InitStruct.Mode = GPIO_MODE_OUTPUT_PP;
  GPIO_InitStruct.Pull = GPIO_NOPULL;
  GPIO_InitStruct.Speed = GPIO_SPEED_FREQ_LOW;
  HAL_GPIO_Init(DSI_RESET_GPIO_Port, &GPIO_InitStruct);

  /*Configure GPIO pin : WIFI_TX_Pin */
  GPIO_InitStruct.Pin = WIFI_TX_Pin;
  GPIO_InitStruct.Mode = GPIO_MODE_AF_PP;
  GPIO_InitStruct.Pull = GPIO_NOPULL;
  GPIO_InitStruct.Speed = GPIO_SPEED_FREQ_VERY_HIGH;
  GPIO_InitStruct.Alternate = GPIO_AF8_UART5;
  HAL_GPIO_Init(WIFI_TX_GPIO_Port, &GPIO_InitStruct);

  /*Configure GPIO pins : D23_Pin D21_Pin D22_Pin FMC_SDNME_Pin
                           FMC_SDNE0_Pin FMC_SDCKE0_Pin D20_Pin FMC_D_7_Pin
                           FMC_D19_Pin FMC_D16_Pin FMC_D18_Pin */
  GPIO_InitStruct.Pin = D23_Pin|D21_Pin|D22_Pin|FMC_SDNME_Pin
                          |FMC_SDNE0_Pin|FMC_SDCKE0_Pin|D20_Pin|FMC_D_7_Pin
                          |FMC_D19_Pin|FMC_D16_Pin|FMC_D18_Pin;
  GPIO_InitStruct.Mode = GPIO_MODE_AF_PP;
  GPIO_InitStruct.Pull = GPIO_NOPULL;
  GPIO_InitStruct.Speed = GPIO_SPEED_FREQ_VERY_HIGH;
  GPIO_InitStruct.Alternate = GPIO_AF12_FMC;
  HAL_GPIO_Init(GPIOH, &GPIO_InitStruct);

  /*Configure GPIO pin : ULPI_DIR_Pin */
  GPIO_InitStruct.Pin = ULPI_DIR_Pin;
  GPIO_InitStruct.Mode = GPIO_MODE_AF_PP;
  GPIO_InitStruct.Pull = GPIO_NOPULL;
  GPIO_InitStruct.Speed = GPIO_SPEED_FREQ_VERY_HIGH;
  GPIO_InitStruct.Alternate = GPIO_AF10_OTG_HS;
  HAL_GPIO_Init(ULPI_DIR_GPIO_Port, &GPIO_InitStruct);

  /*Configure GPIO pin : CEC_CLK_Pin */
  GPIO_InitStruct.Pin = CEC_CLK_Pin;
  GPIO_InitStruct.Mode = GPIO_MODE_AF_PP;
  GPIO_InitStruct.Pull = GPIO_NOPULL;
  GPIO_InitStruct.Speed = GPIO_SPEED_FREQ_LOW;
  GPIO_InitStruct.Alternate = GPIO_AF0_MCO;
  HAL_GPIO_Init(CEC_CLK_GPIO_Port, &GPIO_InitStruct);

  /*Configure GPIO pin : LCD_INT_Pin */
  GPIO_InitStruct.Pin = LCD_INT_Pin;
  GPIO_InitStruct.Mode = GPIO_MODE_EVT_RISING;
  GPIO_InitStruct.Pull = GPIO_NOPULL;
  HAL_GPIO_Init(LCD_INT_GPIO_Port, &GPIO_InitStruct);

  /*Configure GPIO pin : uSD_Detect_Pin */
  GPIO_InitStruct.Pin = uSD_Detect_Pin;
  GPIO_InitStruct.Mode = GPIO_MODE_INPUT;
  GPIO_InitStruct.Pull = GPIO_PULLUP;
  HAL_GPIO_Init(uSD_Detect_GPIO_Port, &GPIO_InitStruct);

  /*Configure GPIO pin : ARD_D5_PWM_Pin */
  GPIO_InitStruct.Pin = ARD_D5_PWM_Pin;
  GPIO_InitStruct.Mode = GPIO_MODE_AF_PP;
  GPIO_InitStruct.Pull = GPIO_NOPULL;
  GPIO_InitStruct.Speed = GPIO_SPEED_FREQ_LOW;
  GPIO_InitStruct.Alternate = GPIO_AF2_TIM3;
  HAL_GPIO_Init(ARD_D5_PWM_GPIO_Port, &GPIO_InitStruct);

  /*Configure GPIO pins : ARD_D0_RX_Pin ARDUINO_TX_D1_Pin */
  GPIO_InitStruct.Pin = ARD_D0_RX_Pin|ARDUINO_TX_D1_Pin;
  GPIO_InitStruct.Mode = GPIO_MODE_AF_PP;
  GPIO_InitStruct.Pull = GPIO_NOPULL;
  GPIO_InitStruct.Speed = GPIO_SPEED_FREQ_VERY_HIGH;
  GPIO_InitStruct.Alternate = GPIO_AF8_USART6;
  HAL_GPIO_Init(GPIOC, &GPIO_InitStruct);

  /*Configure GPIO pin : ULPI_NXT_Pin */
  GPIO_InitStruct.Pin = ULPI_NXT_Pin;
  GPIO_InitStruct.Mode = GPIO_MODE_AF_PP;
  GPIO_InitStruct.Pull = GPIO_NOPULL;
  GPIO_InitStruct.Speed = GPIO_SPEED_FREQ_VERY_HIGH;
  GPIO_InitStruct.Alternate = GPIO_AF10_OTG_HS;
  HAL_GPIO_Init(ULPI_NXT_GPIO_Port, &GPIO_InitStruct);

  /*Configure GPIO pin : SAI1_MCLKA_Pin */
  GPIO_InitStruct.Pin = SAI1_MCLKA_Pin;
  GPIO_InitStruct.Mode = GPIO_MODE_AF_PP;
  GPIO_InitStruct.Pull = GPIO_NOPULL;
  GPIO_InitStruct.Speed = GPIO_SPEED_FREQ_LOW;
  GPIO_InitStruct.Alternate = GPIO_AF6_SAI1;
  HAL_GPIO_Init(SAI1_MCLKA_GPIO_Port, &GPIO_InitStruct);

  /*Configure GPIO pins : EXT_SDA_Pin EXT_SCL_Pin */
  GPIO_InitStruct.Pin = EXT_SDA_Pin|EXT_SCL_Pin;
  GPIO_InitStruct.Mode = GPIO_MODE_INPUT;
  GPIO_InitStruct.Pull = GPIO_NOPULL;
  HAL_GPIO_Init(GPIOG, &GPIO_InitStruct);

  /*Configure GPIO pin : ARD_D6_PWM_Pin */
  GPIO_InitStruct.Pin = ARD_D6_PWM_Pin;
  GPIO_InitStruct.Mode = GPIO_MODE_AF_PP;
  GPIO_InitStruct.Pull = GPIO_NOPULL;
  GPIO_InitStruct.Speed = GPIO_SPEED_FREQ_LOW;
  GPIO_InitStruct.Alternate = GPIO_AF3_TIM11;
  HAL_GPIO_Init(ARD_D6_PWM_GPIO_Port, &GPIO_InitStruct);

  /*Configure GPIO pin : ARD_D3_PWM_Pin */
  GPIO_InitStruct.Pin = ARD_D3_PWM_Pin;
  GPIO_InitStruct.Mode = GPIO_MODE_AF_PP;
  GPIO_InitStruct.Pull = GPIO_NOPULL;
  GPIO_InitStruct.Speed = GPIO_SPEED_FREQ_LOW;
  GPIO_InitStruct.Alternate = GPIO_AF3_TIM10;
  HAL_GPIO_Init(ARD_D3_PWM_GPIO_Port, &GPIO_InitStruct);

  /*Configure GPIO pins : ARDUINO_A1_Pin ARDUINO_A2_Pin ARDUINO_A3_Pin */
  GPIO_InitStruct.Pin = ARDUINO_A1_Pin|ARDUINO_A2_Pin|ARDUINO_A3_Pin;
  GPIO_InitStruct.Mode = GPIO_MODE_ANALOG;
  GPIO_InitStruct.Pull = GPIO_NOPULL;
  HAL_GPIO_Init(GPIOF, &GPIO_InitStruct);

  /*Configure GPIO pin : ULPI_STP_Pin */
  GPIO_InitStruct.Pin = ULPI_STP_Pin;
  GPIO_InitStruct.Mode = GPIO_MODE_AF_PP;
  GPIO_InitStruct.Pull = GPIO_NOPULL;
  GPIO_InitStruct.Speed = GPIO_SPEED_FREQ_VERY_HIGH;
  GPIO_InitStruct.Alternate = GPIO_AF10_OTG_HS;
  HAL_GPIO_Init(ULPI_STP_GPIO_Port, &GPIO_InitStruct);

  /*Configure GPIO pins : RMII_MDC_Pin RMII_RXD0_Pin RMII_RXD1_Pin */
  GPIO_InitStruct.Pin = RMII_MDC_Pin|RMII_RXD0_Pin|RMII_RXD1_Pin;
  GPIO_InitStruct.Mode = GPIO_MODE_AF_PP;
  GPIO_InitStruct.Pull = GPIO_NOPULL;
  GPIO_InitStruct.Speed = GPIO_SPEED_FREQ_VERY_HIGH;
  GPIO_InitStruct.Alternate = GPIO_AF11_ETH;
  HAL_GPIO_Init(GPIOC, &GPIO_InitStruct);

  /*Configure GPIO pin : ARD_A2_Pin */
  GPIO_InitStruct.Pin = ARD_A2_Pin;
  GPIO_InitStruct.Mode = GPIO_MODE_ANALOG;
  GPIO_InitStruct.Pull = GPIO_NOPULL;
  HAL_GPIO_Init(ARD_A2_GPIO_Port, &GPIO_InitStruct);

  /*Configure GPIO pin : PB2 */
  GPIO_InitStruct.Pin = GPIO_PIN_2;
  GPIO_InitStruct.Mode = GPIO_MODE_AF_PP;
  GPIO_InitStruct.Pull = GPIO_NOPULL;
  GPIO_InitStruct.Speed = GPIO_SPEED_FREQ_VERY_HIGH;
  GPIO_InitStruct.Alternate = GPIO_AF9_QUADSPI;
  HAL_GPIO_Init(GPIOB, &GPIO_InitStruct);

  /*Configure GPIO pin : AUDIO_SCL_Pin */
  GPIO_InitStruct.Pin = AUDIO_SCL_Pin;
  GPIO_InitStruct.Mode = GPIO_MODE_AF_OD;
  GPIO_InitStruct.Pull = GPIO_PULLUP;
  GPIO_InitStruct.Speed = GPIO_SPEED_FREQ_VERY_HIGH;
  GPIO_InitStruct.Alternate = GPIO_AF4_I2C4;
  HAL_GPIO_Init(AUDIO_SCL_GPIO_Port, &GPIO_InitStruct);

  /*Configure GPIO pin : QSPI_D3_Pin */
  GPIO_InitStruct.Pin = QSPI_D3_Pin;
  GPIO_InitStruct.Mode = GPIO_MODE_AF_PP;
  GPIO_InitStruct.Pull = GPIO_NOPULL;
  GPIO_InitStruct.Speed = GPIO_SPEED_FREQ_VERY_HIGH;
  GPIO_InitStruct.Alternate = GPIO_AF9_QUADSPI;
  HAL_GPIO_Init(QSPI_D3_GPIO_Port, &GPIO_InitStruct);

  /*Configure GPIO pins : RMII_REF_CLK_Pin RMII_MDIO_Pin RMII_CRS_DV_Pin */
  GPIO_InitStruct.Pin = RMII_REF_CLK_Pin|RMII_MDIO_Pin|RMII_CRS_DV_Pin;
  GPIO_InitStruct.Mode = GPIO_MODE_AF_PP;
  GPIO_InitStruct.Pull = GPIO_NOPULL;
  GPIO_InitStruct.Speed = GPIO_SPEED_FREQ_VERY_HIGH;
  GPIO_InitStruct.Alternate = GPIO_AF11_ETH;
  HAL_GPIO_Init(GPIOA, &GPIO_InitStruct);

  /*Configure GPIO pin : B_USER_Pin */
  GPIO_InitStruct.Pin = B_USER_Pin;
  GPIO_InitStruct.Mode = GPIO_MODE_IT_RISING;
  GPIO_InitStruct.Pull = GPIO_NOPULL;
  HAL_GPIO_Init(B_USER_GPIO_Port, &GPIO_InitStruct);

  /*Configure GPIO pins : ARD_A1_Pin ARD_A0_Pin */
  GPIO_InitStruct.Pin = ARD_A1_Pin|ARD_A0_Pin;
  GPIO_InitStruct.Mode = GPIO_MODE_ANALOG;
  GPIO_InitStruct.Pull = GPIO_NOPULL;
  HAL_GPIO_Init(GPIOA, &GPIO_InitStruct);

  /*Configure GPIO pin : SPDIF_TX_Pin */
  GPIO_InitStruct.Pin = SPDIF_TX_Pin;
  GPIO_InitStruct.Mode = GPIO_MODE_AF_PP;
  GPIO_InitStruct.Pull = GPIO_NOPULL;
  GPIO_InitStruct.Speed = GPIO_SPEED_FREQ_LOW;
  GPIO_InitStruct.Alternate = GPIO_AF10_SAI2;
  HAL_GPIO_Init(SPDIF_TX_GPIO_Port, &GPIO_InitStruct);

  /*Configure GPIO pin : PH7 */
  GPIO_InitStruct.Pin = GPIO_PIN_7;
  GPIO_InitStruct.Mode = GPIO_MODE_INPUT;
  GPIO_InitStruct.Pull = GPIO_NOPULL;
  HAL_GPIO_Init(GPIOH, &GPIO_InitStruct);

  /*Configure GPIO pins : ULPI_CLK_Pin ULPI_D0_Pin */
  GPIO_InitStruct.Pin = ULPI_CLK_Pin|ULPI_D0_Pin;
  GPIO_InitStruct.Mode = GPIO_MODE_AF_PP;
  GPIO_InitStruct.Pull = GPIO_NOPULL;
  GPIO_InitStruct.Speed = GPIO_SPEED_FREQ_VERY_HIGH;
  GPIO_InitStruct.Alternate = GPIO_AF10_OTG_HS;
  HAL_GPIO_Init(GPIOA, &GPIO_InitStruct);

  /*Configure GPIO pin : DSIHOST_TE_Pin */
  GPIO_InitStruct.Pin = DSIHOST_TE_Pin;
  GPIO_InitStruct.Mode = GPIO_MODE_AF_PP;
  GPIO_InitStruct.Pull = GPIO_NOPULL;
  GPIO_InitStruct.Speed = GPIO_SPEED_FREQ_LOW;
  GPIO_InitStruct.Alternate = GPIO_AF13_DSI;
  HAL_GPIO_Init(DSIHOST_TE_GPIO_Port, &GPIO_InitStruct);

  /*Configure GPIO pin : ARDUINO_PWM_D6_Pin */
  GPIO_InitStruct.Pin = ARDUINO_PWM_D6_Pin;
  GPIO_InitStruct.Mode = GPIO_MODE_AF_PP;
  GPIO_InitStruct.Pull = GPIO_NOPULL;
  GPIO_InitStruct.Speed = GPIO_SPEED_FREQ_LOW;
  GPIO_InitStruct.Alternate = GPIO_AF9_TIM12;
  HAL_GPIO_Init(ARDUINO_PWM_D6_GPIO_Port, &GPIO_InitStruct);

  /*Configure GPIO pins : ARDUINO_MISO_D12_Pin ARDUINO_MOSI_PWM_D11_Pin */
  GPIO_InitStruct.Pin = ARDUINO_MISO_D12_Pin|ARDUINO_MOSI_PWM_D11_Pin;
  GPIO_InitStruct.Mode = GPIO_MODE_AF_PP;
  GPIO_InitStruct.Pull = GPIO_NOPULL;
  GPIO_InitStruct.Speed = GPIO_SPEED_FREQ_LOW;
  GPIO_InitStruct.Alternate = GPIO_AF5_SPI2;
  HAL_GPIO_Init(GPIOB, &GPIO_InitStruct);

}

/* USER CODE BEGIN 4 */
FRESULT scan_files (
    char* path        /* Start node to be scanned (***also used as work area***) */
)
{
    FRESULT res;
    DIR dir;
    UINT i;
    static FILINFO fno;

    res = f_opendir(&dir, path);                       /* Open the directory */
    if (res == FR_OK) {
        for (;;) {
            res = f_readdir(&dir, &fno);                   /* Read a directory item */
            if (res != FR_OK || fno.fname[0] == 0) break;  /* Break on error or end of dir */
            if (fno.fattrib & AM_DIR) {                    /* It is a directory */
                i = strlen(path);
                sprintf(&path[i], "/%s", fno.fname);
                HAL_UART_Transmit(&huart1, &path[i], strlen(&path[i]), HAL_MAX_DELAY);
                HAL_UART_Transmit(&huart1, (uint8_t *) "\n\r", 2, HAL_MAX_DELAY);
                res = scan_files(path);                    /* Enter the directory */
                if (res != FR_OK) break;
                path[i] = 0;
            } else {                                       /* It is a file. */
                printf("%s/%s\n", path, fno.fname);
                HAL_UART_Transmit(&huart1, fno.fname, strlen(fno.fname), HAL_MAX_DELAY);
                HAL_UART_Transmit(&huart1, (uint8_t *) "\n\r", 2, HAL_MAX_DELAY);

            }
        }
        f_closedir(&dir);
    }

    return res;
}

/* USER CODE END 4 */

void HAL_TIM_PeriodElapsedCallback(TIM_HandleTypeDef *htim)
{
  if (htim->Instance == TIM6) {
    HAL_IncTick();
  }
}

void Error_Handler(void)
{
}

/************************ (C) COPYRIGHT STMicroelectronics *****END OF FILE****/
